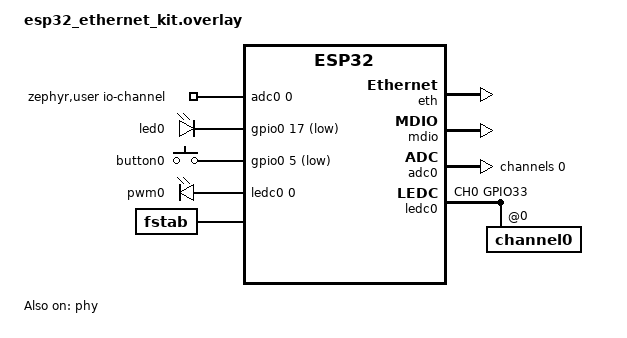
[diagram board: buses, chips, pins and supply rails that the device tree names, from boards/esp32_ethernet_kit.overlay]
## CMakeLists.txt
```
# SPDX-License-Identifier: Apache-2.0

cmake_minimum_required(VERSION 4.5)

# Standard Zephyr package initialization
find_package(Zephyr REQUIRED HINTS $ENV{ZEPHYR_BASE})
project(forte_zephyr_app LANGUAGES C CXX)

target_sources(app PRIVATE src/main.cpp)

include(ExternalProject)

set(FORTE_SOURCE_DIR "${CMAKE_CURRENT_SOURCE_DIR}/lib/org.eclipse.4diac.forte")
set(FORTE_BINARY_DIR "${CMAKE_CURRENT_BINARY_DIR}/forte-build")
set(FORTE_MAIN_LIB "${FORTE_BINARY_DIR}/libforte.a")
set(FORTE_LD_FILE "${CMAKE_CURRENT_BINARY_DIR}/forte_libs.ld")
set(FORTE_COLLECT_SCRIPT "${CMAKE_CURRENT_BINARY_DIR}/collect_forte_libs.cmake")

# Auto-detect ccache if available on PATH
find_program(CCACHE_PROGRAM ccache)
set(FORTE_CCACHE_CACHE_ENTRIES "")
if(CCACHE_PROGRAM)
    message(STATUS "Auto-detected ccache for forte_external: ${CCACHE_PROGRAM}")
    set(FORTE_CCACHE_CACHE_ENTRIES "
set(CMAKE_C_COMPILER_LAUNCHER [==[${CCACHE_PROGRAM}]==] CACHE FILEPATH \"\" FORCE)
set(CMAKE_CXX_COMPILER_LAUNCHER [==[${CCACHE_PROGRAM}]==] CACHE FILEPATH \"\" FORCE)
")
endif()

# 1. Extract Zephyr's flags (this strips single-arg $<TARGET_PROPERTY:prop> expressions)
zephyr_get_include_directories_for_lang_as_string(C ZEPHYR_C_INCLUDES)
zephyr_get_include_directories_for_lang_as_string(CXX ZEPHYR_CXX_INCLUDES)

zephyr_get_compile_definitions_for_lang_as_string(C ZEPHYR_C_DEFINES)
zephyr_get_compile_definitions_for_lang_as_string(CXX ZEPHYR_CXX_DEFINES)

zephyr_get_compile_options_for_lang_as_string(C ZEPHYR_C_OPTIONS)
zephyr_get_compile_options_for_lang_as_string(CXX ZEPHYR_CXX_OPTIONS)

set(RAW_C_FLAGS "${CMAKE_C_FLAGS} ${ZEPHYR_C_OPTIONS} ${ZEPHYR_C_DEFINES} ${ZEPHYR_C_INCLUDES}")
set(RAW_CXX_FLAGS "${CMAKE_CXX_FLAGS} ${ZEPHYR_CXX_OPTIONS} ${ZEPHYR_CXX_DEFINES} ${ZEPHYR_CXX_INCLUDES}")

# 2. Use file(GENERATE) to evaluate the remaining $<JOIN:...> and $<TARGET_PROPERTY:compiler,...> expressions
set(FORTE_CACHE_FILE "${CMAKE_CURRENT_BINARY_DIR}/forte_initial_cache.cmake")

file(GENERATE OUTPUT "${FORTE_CACHE_FILE}" CONTENT "
set(CMAKE_SYSTEM_NAME Generic CACHE STRING \"\" FORCE)
set(CMAKE_TRY_COMPILE_TARGET_TYPE STATIC_LIBRARY CACHE STRING \"\" FORCE)
set(CMAKE_C_COMPILER [==[${CMAKE_C_COMPILER}]==] CACHE FILEPATH \"\" FORCE)
set(CMAKE_CXX_COMPILER [==[${CMAKE_CXX_COMPILER}]==] CACHE FILEPATH \"\" FORCE)
${FORTE_CCACHE_CACHE_ENTRIES}
set(CMAKE_AR [==[${CMAKE_AR}]==] CACHE FILEPATH \"\" FORCE)
set(CMAKE_RANLIB [==[${CMAKE_RANLIB}]==] CACHE FILEPATH \"\" FORCE)
set(CMAKE_C_FLAGS [==[${RAW_C_FLAGS}]==] CACHE STRING \"\" FORCE)
set(CMAKE_CXX_FLAGS [==[${RAW_CXX_FLAGS}]==] CACHE STRING \"\" FORCE)

# Required by 4diac FORTE for static library linking
set(CMAKE_LINK_LIBRARY_USING_WHOLE_ARCHIVE \"LINKER:--whole-archive\" \"<LINK_ITEM>\" \"LINKER:--no-whole-archive\" CACHE STRING \"\" FORCE)
set(CMAKE_LINK_LIBRARY_USING_WHOLE_ARCHIVE_SUPPORTED TRUE CACHE BOOL \"\" FORCE)
set(CMAKE_LINK_LIBRARY_WHOLE_ARCHIVE_ATTRIBUTES LIBRARY_TYPE=STATIC DEDUPLICATION=YES OVERRIDE=DEFAULT CACHE STRING \"\" FORCE)
")

# 3. Generate a build-time helper script that globs all compiled *.a files
#    and writes a GNU linker script fragment (forte_libs.ld)
file(WRITE "${FORTE_COLLECT_SCRIPT}" "
file(GLOB_RECURSE ALL_FORTE_ARCHIVES \"${FORTE_BINARY_DIR}/*.a\")
list(FILTER ALL_FORTE_ARCHIVES EXCLUDE REGEX \"CMakeFiles/\")
set(LD_CONTENT \"INPUT(\\n\")
foreach(archive IN LISTS ALL_FORTE_ARCHIVES)
    string(APPEND LD_CONTENT \"  \\\"\${archive}\\\"\\n\")
endforeach()
string(APPEND LD_CONTENT \")\\n\")
file(WRITE \"${FORTE_LD_FILE}\" \"\${LD_CONTENT}\")
")

# Select board-specific FORTE hardware I/O module
set(FORTE_BOARD_MODULE_ARGS "")
if("${BOARD}" STREQUAL "esp32_ethernet_kit")
    list(APPEND FORTE_BOARD_MODULE_ARGS -DFORTE_MODULE_ESP32ETHERNETKIT=ON)
elseif("${BOARD}" STREQUAL "esp32c3_devkitm")
    list(APPEND FORTE_BOARD_MODULE_ARGS -DFORTE_MODULE_ESP32C3DEVKITM=ON)
elseif("${BOARD}" STREQUAL "teensy41")
    list(APPEND FORTE_BOARD_MODULE_ARGS -DFORTE_MODULE_TEENSY41=ON)
endif()

# 4. Build FORTE and collect all generated .a archives right after compilation
ExternalProject_Add(forte_external
    DEPENDS zephyr_generated_headers
    SOURCE_DIR "${FORTE_SOURCE_DIR}"
    BINARY_DIR "${FORTE_BINARY_DIR}"
    CMAKE_ARGS
        -G "Ninja"
        -C "${FORTE_CACHE_FILE}"
        # FORTE Zephyr Architecture & Library Settings
        -DFORTE_ARCHITECTURE=Zephyr
        -DFORTE_BUILD_EXECUTABLE=OFF
        -DFORTE_TESTS=OFF
        -DFORTE_LOGLEVEL=LOGWARNING
        -DFORTE_SUPPORT_BOOT_FILE=ON
        -DFORTE_BOOT_FILE_LOCATION=/lfs1/forte.fboot
        -DFORTE_COM_ETH=ON
        # Function Block Modules
        -DFORTE_MODULE_CONVERT=OFF
        -DFORTE_MODULE_IEC61131=ON
        -DFORTE_MODULE_ZEPHYR=ON
        ${FORTE_BOARD_MODULE_ARGS}
        -DFORTE_IO=ON
    BUILD_COMMAND ${CMAKE_COMMAND} --build <BINARY_DIR>
          COMMAND ${CMAKE_COMMAND} -P "${FORTE_COLLECT_SCRIPT}"
    INSTALL_COMMAND ""
    BUILD_BYPRODUCTS "${FORTE_MAIN_LIB}" "${FORTE_LD_FILE}"
)

# Ensure forte_external finishes building and generating forte_libs.ld before 'app' links
add_dependencies(app forte_external)

# Include FORTE source and generated headers for main.cpp
target_include_directories(app PRIVATE
    "${FORTE_SOURCE_DIR}/core/include"
    "${FORTE_SOURCE_DIR}/core/arch/common/include"
    "${FORTE_SOURCE_DIR}/core/arch/zephyr/include"
    "${FORTE_BINARY_DIR}/core/include"
    "${FORTE_BINARY_DIR}/include"
    "${FORTE_BINARY_DIR}/core/src_gen"
)

# Pass the generated linker script fragment inside an atomic --whole-archive group
target_link_libraries(app PRIVATE
    "-Wl,--whole-archive,${FORTE_LD_FILE},--no-whole-archive"
)

# 5. Pack lfs_root/ into a LittleFS image matching lfs_partition or storage_partition in devicetree
find_program(MKLITTLEFS_EXE mklittlefs)
execute_process(
    COMMAND "${PYTHON_EXECUTABLE}" -c "import littlefs"
    RESULT_VARIABLE PYTHON_LITTLEFS_RESULT
    OUTPUT_QUIET
    ERROR_QUIET
)

set(LFS_ROOT_DIR "${CMAKE_CURRENT_SOURCE_DIR}/lfs_root")
set(LFS_BIN_FILE "${CMAKE_CURRENT_BINARY_DIR}/littlefs.bin")
set(LFS_PACK_SCRIPT "${CMAKE_CURRENT_SOURCE_DIR}/scripts/pack_littlefs.py")
set(LFS_PACKER_AVAILABLE FALSE)
if(MKLITTLEFS_EXE OR PYTHON_LITTLEFS_RESULT EQUAL 0)
    set(LFS_PACKER_AVAILABLE TRUE)
endif()

dt_nodelabel(STORAGE_PART_NODE NODELABEL "lfs_partition")
if(NOT STORAGE_PART_NODE)
    dt_nodelabel(STORAGE_PART_NODE NODELABEL "storage_partition")
endif()
if(STORAGE_PART_NODE)
    dt_reg_addr(STORAGE_PART_ADDR PATH "${STORAGE_PART_NODE}")
    dt_reg_size(STORAGE_PART_SIZE PATH "${STORAGE_PART_NODE}")
endif()

if(LFS_PACKER_AVAILABLE AND EXISTS "${LFS_ROOT_DIR}" AND STORAGE_PART_SIZE)
    file(GLOB_RECURSE LFS_ROOT_FILES CONFIGURE_DEPENDS "${LFS_ROOT_DIR}/*")
    if(MKLITTLEFS_EXE)
        add_custom_command(
            OUTPUT "${LFS_BIN_FILE}"
            COMMAND "${MKLITTLEFS_EXE}" -c "${LFS_ROOT_DIR}" -b 4096 -p 16 -s ${STORAGE_PART_SIZE} "${LFS_BIN_FILE}"
            DEPENDS ${LFS_ROOT_FILES}
            COMMENT "Packing ${LFS_ROOT_DIR} into LittleFS image (${LFS_BIN_FILE}) via mklittlefs for offset ${STORAGE_PART_ADDR}"
        )
    else()
        add_custom_command(
            OUTPUT "${LFS_BIN_FILE}"
            COMMAND "${PYTHON_EXECUTABLE}" "${LFS_PACK_SCRIPT}" "${LFS_ROOT_DIR}" "${LFS_BIN_FILE}" "${STORAGE_PART_SIZE}"
            DEPENDS ${LFS_ROOT_FILES} "${LFS_PACK_SCRIPT}"
            COMMENT "Packing ${LFS_ROOT_DIR} into LittleFS image (${LFS_BIN_FILE}) via littlefs-python for offset ${STORAGE_PART_ADDR}"
        )
    endif()
    add_custom_target(littlefs_image ALL DEPENDS "${LFS_BIN_FILE}")
elseif(EXISTS "${LFS_ROOT_DIR}" AND NOT LFS_PACKER_AVAILABLE)
    message(WARNING "Neither mklittlefs nor Python littlefs module found; skipping ${LFS_BIN_FILE} generation")
endif()
```

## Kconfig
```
mainmenu "4diac FORTE example"

source "Kconfig.zephyr"
```

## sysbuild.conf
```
# Enable Zephyr application to be booted by MCUboot
SB_CONFIG_BOOTLOADER_MCUBOOT=y
SB_CONFIG_MCUBOOT_MODE_SINGLE_APP=y
```

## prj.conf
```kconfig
# C++ & Full Standard Library Support
CONFIG_CPP=y
CONFIG_STD_CPP20=y
CONFIG_REQUIRES_FULL_LIBCPP=y
CONFIG_GLIBCXX_LIBCPP=y
CONFIG_CPP_EXCEPTIONS=n
CONFIG_CPP_RTTI=n

# POSIX Compatibility Layer (used by FORTE threading, mutexes, and sockets)
CONFIG_POSIX_API=y
CONFIG_POSIX_C_LIB_EXT=y
CONFIG_EVENTFD=y

# Dynamic thread creation for 4diac FORTE
CONFIG_DYNAMIC_THREAD=y
CONFIG_DYNAMIC_THREAD_ALLOC=y

CONFIG_INIT_STACKS=y
CONFIG_THREAD_STACK_INFO=y
CONFIG_KERNEL_MEM_POOL=y

# Core IPv4 Networking (Required for 4diac IDE deployment and monitoring over TCP port 61499)
CONFIG_NETWORKING=y
CONFIG_NET_IPV6=n
CONFIG_NET_IPV4=y
CONFIG_NET_TCP=y
CONFIG_NET_UDP=y
CONFIG_NET_ARP=y
CONFIG_NET_SOCKETS=y

CONFIG_NET_MAX_CONN=20
CONFIG_NET_CONTEXT_RCVTIMEO=y
CONFIG_ZVFS_OPEN_MAX=24
CONFIG_ZVFS_POLL_MAX=24
CONFIG_NET_MAX_CONTEXTS=16

CONFIG_NET_IF_MCAST_IPV4_ADDR_COUNT=4

CONFIG_NET_DHCPV4=y
CONFIG_NET_DHCPV4_OPTION_CALLBACKS=y
CONFIG_DNS_RESOLVER=y
CONFIG_DNS_RESOLVER_MAX_SERVERS=4

CONFIG_TEST_RANDOM_GENERATOR=y

CONFIG_NET_CONNECTION_MANAGER=y

CONFIG_NET_MGMT=y
CONFIG_NET_MGMT_EVENT=y
CONFIG_NET_MGMT_EVENT_STACK_SIZE=2048

# Console, Logging & Interactive Shell
CONFIG_SERIAL=y
CONFIG_CONSOLE=y
CONFIG_UART_CONSOLE=y
CONFIG_PRINTK=y
CONFIG_BOOT_BANNER=y

CONFIG_LOG=y
CONFIG_LOG_MODE_IMMEDIATE=y
CONFIG_LOG_BACKEND_UART=y
CONFIG_NET_LOG=y

CONFIG_SHELL=y
CONFIG_SHELL_BACKEND_SERIAL=y
CONFIG_NET_SHELL=n

# LittleFS support
CONFIG_FLASH=y
CONFIG_FLASH_MAP=y
CONFIG_FLASH_PAGE_LAYOUT=y

CONFIG_FILE_SYSTEM=y
CONFIG_FILE_SYSTEM_LITTLEFS=y
CONFIG_FILE_SYSTEM_SHELL=n

# IO & Watchdog drivers support (CONFIG_ADC_ASYNC is configured per board in boards/*.conf)
CONFIG_GPIO=y
CONFIG_ADC=y
CONFIG_PWM=y
CONFIG_WATCHDOG=y
CONFIG_WDT_DISABLE_AT_BOOT=y
```

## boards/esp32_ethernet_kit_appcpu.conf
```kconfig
CONFIG_ETH_ESP32=y
CONFIG_ESP_SPIRAM=n
```

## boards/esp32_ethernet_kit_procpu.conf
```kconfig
# Bootloader & CPU Architecture
CONFIG_BOOTLOADER_MCUBOOT=y
CONFIG_MCUBOOT_BOOTLOADER_MODE_SINGLE_APP=y
CONFIG_FPU=y
CONFIG_ESP_SPIRAM=n

# Board-Specific Memory & Stack Sizing (ESP32 176 KB static dram0_0_seg, Ethernet-only)
CONFIG_COMMON_LIBC_MALLOC_ARENA_SIZE=45056
CONFIG_HEAP_MEM_POOL_SIZE=16384
CONFIG_MAIN_STACK_SIZE=2048
CONFIG_SYSTEM_WORKQUEUE_STACK_SIZE=4096
CONFIG_SHELL_STACK_SIZE=2048
CONFIG_NET_RX_STACK_SIZE=3072
CONFIG_NET_TX_STACK_SIZE=2048

# Board-Specific I/O Capabilities (Espressif ADC supports synchronous read only)
CONFIG_ADC_ASYNC=n

# Wired Ethernet Driver & L2
CONFIG_ETH_ESP32=y
CONFIG_NET_L2_ETHERNET=y
CONFIG_NET_PROMISCUOUS_MODE=y
CONFIG_SLIP_STATISTICS=n
```

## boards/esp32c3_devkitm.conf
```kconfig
# Bootloader (ESP32-C3 RISC-V, no FPU)
CONFIG_BOOTLOADER_MCUBOOT=y
CONFIG_MCUBOOT_BOOTLOADER_MODE_SINGLE_APP=y

# Board-Specific Memory & Stack Sizing (ESP32-C3 400 KB SRAM + Native ESP32 Wi-Fi Supplicant)
CONFIG_COMMON_LIBC_MALLOC_ARENA_SIZE=81920
CONFIG_HEAP_MEM_POOL_SIZE=77824
CONFIG_MAIN_STACK_SIZE=2048
CONFIG_SYSTEM_WORKQUEUE_STACK_SIZE=4096
CONFIG_SHELL_STACK_SIZE=4096
CONFIG_NET_RX_STACK_SIZE=3072
CONFIG_NET_TX_STACK_SIZE=2048

# Board-Specific I/O Capabilities (Espressif ADC supports synchronous read only)
CONFIG_ADC_ASYNC=n

# Wi-Fi + Shell + Persistent NVS Credential Storage (uses Espressif native supplicant)
CONFIG_WIFI=y
CONFIG_WIFI_ESP32=y
CONFIG_NET_L2_WIFI_MGMT=y
CONFIG_NET_L2_WIFI_SHELL=y
CONFIG_WIFI_NM_WPA_SUPPLICANT=n

CONFIG_WIFI_CREDENTIALS=y
CONFIG_WIFI_CREDENTIALS_SHELL=y
CONFIG_WIFI_CREDENTIALS_BACKEND_SETTINGS=y

CONFIG_NVS=y
CONFIG_SETTINGS=y
CONFIG_SETTINGS_NVS=y
CONFIG_SETTINGS_RUNTIME=y

# WS2812 onboard RGB LED on GPIO 8 (optional; standard GPIO LEDs work out of the box)
CONFIG_LED_STRIP=n
```

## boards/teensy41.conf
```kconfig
# CPU & FPU Architecture (NXP i.MX RT1062 Cortex-M7 @ 600 MHz, HalfKay ROM bootloader)
CONFIG_BOOTLOADER_MCUBOOT=n
CONFIG_FPU=y

# Board-Specific Memory & Stack Sizing (Teensy 4.1 has 1 MB SRAM)
CONFIG_COMMON_LIBC_MALLOC_ARENA_SIZE=131072
CONFIG_HEAP_MEM_POOL_SIZE=32768
CONFIG_MAIN_STACK_SIZE=2048
CONFIG_SYSTEM_WORKQUEUE_STACK_SIZE=4096
CONFIG_SHELL_STACK_SIZE=2048
CONFIG_NET_RX_STACK_SIZE=3072
CONFIG_NET_TX_STACK_SIZE=2048

# Board-Specific I/O Capabilities (NXP mcux_adc12 supports async k_poll reads)
CONFIG_ADC_ASYNC=y

# Wired 10/100 Ethernet Driver & L2 (Teensy 4.1 Ethernet Kit)
CONFIG_ETH_MCUX=y
CONFIG_NET_L2_ETHERNET=y
CONFIG_NET_PROMISCUOUS_MODE=y
```

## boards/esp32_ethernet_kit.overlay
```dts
/*
 * Copyright (c) 2022 Grant Ramsay <grant.ramsay@hotmail.com>
 *
 * SPDX-License-Identifier: Apache-2.0
 */

#include <zephyr/dt-bindings/pwm/pwm.h>
#include <dt-bindings/pinctrl/esp32-pinctrl.h>

&eth {
	status = "okay";
};

&phy {
	status = "okay";
};

&mdio {
	status = "okay";
};

&wifi {
	status = "disabled";
};

&flash0 {
	status = "okay";
	partitions {
		/* Reserve 2024kB for the application in slot 0 */
		slot0_partition: partition@10000 {
			label = "image-0";
			reg = <0x00010000 0x00200000>;
		};

		/delete-node/ slot1_partition;
	};
};

&adc0 {
	status = "okay";
	#address-cells = <1>;
	#size-cells = <0>;

	channel@0 {
		reg = <0>;
		zephyr,gain = "ADC_GAIN_1";
		zephyr,reference = "ADC_REF_INTERNAL";
		zephyr,acquisition-time = <ADC_ACQ_TIME_DEFAULT>;
		zephyr,resolution = <12>;
	};
};

&pinctrl {
	ledc0_default:  ledc0_default {
		group1 {
			pinmux = <LEDC_CH0_GPIO33>;
			output-enable;
		};
	};
};

&ledc0 {
	pinctrl-0 = <&ledc0_default>;
	pinctrl-names = "default";
	status = "okay";
	#address-cells = <1>;
	#size-cells = <0>;
	channel0@0 {
		reg = <0x0>;
		timer = <0>;
	};
};

/ {
	zephyr,user {
		io-channels =
			<&adc0 0>;
	};

   	aliases {
   		led0 = &led0;
   		sw0 = &button0;
		pwm0 = &pwm0;
   	};

   	leds {
   		compatible = "gpio-leds";
   		led0: led_0 {
   			gpios = <&gpio0 17 GPIO_ACTIVE_LOW>;
                };
   	};

	buttons {
		compatible = "gpio-keys";
		button0: button_0 {
			gpios = <&gpio0 5 (GPIO_PULL_UP | GPIO_ACTIVE_LOW)>;
		};
	};

	pwmleds {
		compatible = "pwm-leds";
		pwm0: pwm_led_gpio1_1 {
			pwms = <&ledc0 0 PWM_HZ(100) PWM_POLARITY_NORMAL>;
		};
	};

	fstab {
		compatible = "zephyr,fstab";
		lfs1: lfs1 {
			compatible = "zephyr,fstab,littlefs";
			mount-point = "/lfs1";
			partition = <&storage_partition>;
			automount;
			read-size = <16>;
			prog-size = <16>;
			cache-size = <64>;
			lookahead-size = <32>;
			block-cycles = <512>;
		};
	};
};
```

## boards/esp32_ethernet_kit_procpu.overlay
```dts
/ {
	aliases {
		led0 = &user_led0;
		sw0 = &user_button0;
		pwm0 = &pwm_led0;
		watchdog0 = &wdt0;
	};

	leds {
		compatible = "gpio-leds";
		user_led0: led_0 {
			gpios = <&gpio0 17 GPIO_ACTIVE_HIGH>;
			label = "User LED0 (GPIO17)";
		};
	};

	buttons {
		compatible = "gpio-keys";
		user_button0: button_0 {
			gpios = <&gpio0 5 (GPIO_PULL_UP | GPIO_ACTIVE_LOW)>;
			label = "User Button0 (GPIO5)";
		};
	};

	pwmleds {
		compatible = "pwm-leds";
		pwm_led0: pwm_led_0 {
			pwms = <&ledc0 0 PWM_MSEC(20) PWM_POLARITY_NORMAL>;
			label = "PWM LED0 (GPIO33)";
		};
	};

	zephyr,user {
		io-channels = <&adc0 0>;
	};

	fstab {
		compatible = "zephyr,fstab";
		lfs1: lfs1 {
			compatible = "zephyr,fstab,littlefs";
			mount-point = "/lfs1";
			partition = <&storage_partition>;
			automount;
			read-size = <16>;
			prog-size = <16>;
			cache-size = <64>;
			lookahead-size = <32>;
			block-cycles = <512>;
		};
	};
};

&pinctrl {
	ledc0_default: ledc0_default {
		group1 {
			pinmux = <LEDC_CH0_GPIO33>;
			output-enable;
		};
	};
};

&ledc0 {
	pinctrl-0 = <&ledc0_default>;
	pinctrl-names = "default";
	status = "okay";
	#address-cells = <1>;
	#size-cells = <0>;
	channel0@0 {
		reg = <0x0>;
		timer = <0>;
	};
};

&adc0 {
	status = "okay";
	#address-cells = <1>;
	#size-cells = <0>;
	channel@0 {
		reg = <0>;
		zephyr,gain = "ADC_GAIN_1_4";
		zephyr,reference = "ADC_REF_INTERNAL";
		zephyr,acquisition-time = <ADC_ACQ_TIME_DEFAULT>;
		zephyr,resolution = <12>;
	};
};

&wdt0 {
	status = "okay";
};

&eth {
	status = "okay";
};

&phy {
	status = "okay";
};

&mdio {
	status = "okay";
};

&wifi {
	status = "disabled";
};

&flash0 {
	partitions {
		compatible = "fixed-partitions";
		#address-cells = <1>;
		#size-cells = <1>;

		/delete-node/ partition@170000;
		/delete-node/ partition@3b0000;

		slot0_partition: partition@20000 {
			label = "image-0";
			reg = <0x00020000 0x00380000>;
		};

		storage_partition: partition@3b0000 {
			label = "storage";
			reg = <0x003b0000 0x00050000>;
		};
	};
};
```

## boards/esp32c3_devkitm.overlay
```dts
#include <zephyr/dt-bindings/pwm/pwm.h>
#include <zephyr/dt-bindings/pinctrl/esp32c3-pinctrl.h>

/ {
	aliases {
		led0 = &user_led0;
		pwm0 = &pwm_led0;
		watchdog0 = &wdt0;
	};

	leds {
		compatible = "gpio-leds";
		user_led0: led_0 {
			gpios = <&gpio0 4 GPIO_ACTIVE_HIGH>;
			label = "User LED0 (GPIO4)";
		};
	};

	pwmleds {
		compatible = "pwm-leds";
		pwm_led0: pwm_led_0 {
			pwms = <&ledc0 0 PWM_MSEC(20) PWM_POLARITY_NORMAL>;
			label = "PWM LED0 (GPIO5)";
		};
	};

	zephyr,user {
		io-channels = <&adc0 0>;
	};

	fstab {
		compatible = "zephyr,fstab";
		lfs1: lfs1 {
			compatible = "zephyr,fstab,littlefs";
			mount-point = "/lfs1";
			partition = <&lfs_partition>;
			automount;
			read-size = <16>;
			prog-size = <16>;
			cache-size = <64>;
			lookahead-size = <32>;
			block-cycles = <512>;
		};
	};
};

&pinctrl {
	ledc0_default: ledc0_default {
		group1 {
			pinmux = <LEDC_CH0_GPIO5>;
			output-enable;
		};
	};
};

&ledc0 {
	pinctrl-0 = <&ledc0_default>;
	pinctrl-names = "default";
	status = "okay";
	#address-cells = <1>;
	#size-cells = <0>;
	channel0@0 {
		reg = <0x0>;
		timer = <0>;
	};
};

&adc0 {
	status = "okay";
	#address-cells = <1>;
	#size-cells = <0>;
	channel@0 {
		reg = <0>;
		zephyr,gain = "ADC_GAIN_1_4";
		zephyr,reference = "ADC_REF_INTERNAL";
		zephyr,acquisition-time = <ADC_ACQ_TIME_DEFAULT>;
		zephyr,resolution = <12>;
	};
};

&wdt0 {
	status = "okay";
};

&wifi {
	status = "okay";
};

&flash0 {
	partitions {
		compatible = "fixed-partitions";
		#address-cells = <1>;
		#size-cells = <1>;

		/delete-node/ partition@170000;
		/delete-node/ partition@3b0000;

		slot0_partition: partition@20000 {
			label = "image-0";
			reg = <0x00020000 0x00380000>;
		};

		storage_partition: partition@3a0000 {
			label = "storage";
			reg = <0x003a0000 0x00010000>;
		};

		lfs_partition: partition@3b0000 {
			label = "lfs_storage";
			reg = <0x003b0000 0x00050000>;
		};
	};
};
```

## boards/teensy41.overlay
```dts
#include <zephyr/dt-bindings/pwm/pwm.h>

/ {
	aliases {
		/* led0 is already aliased to green_led (Teensy Pin 13) in teensy4x.dtsi */
		sw0 = &user_button0;
		pwm0 = &flexpwm2_pwm0;
		watchdog0 = &wdog1;
	};

	buttons {
		compatible = "gpio-keys";
		user_button0: button_0 {
			gpios = <&gpio4 4 (GPIO_PULL_UP | GPIO_ACTIVE_LOW)>;
			label = "User Button0 (Teensy Pin 2)";
		};
	};

	zephyr,user {
		io-channels = <&adc1 0>;
	};

	fstab {
		compatible = "zephyr,fstab";
		lfs1: lfs1 {
			compatible = "zephyr,fstab,littlefs";
			mount-point = "/lfs1";
			partition = <&lfs_partition>;
			automount;
			read-size = <16>;
			prog-size = <16>;
			cache-size = <64>;
			lookahead-size = <32>;
			block-cycles = <512>;
		};
	};
};

&adc1 {
	status = "okay";
	#address-cells = <1>;
	#size-cells = <0>;
	channel@0 {
		reg = <0>;
		zephyr,gain = "ADC_GAIN_1";
		zephyr,reference = "ADC_REF_INTERNAL";
		zephyr,acquisition-time = <ADC_ACQ_TIME_DEFAULT>;
		zephyr,resolution = <12>;
	};
};

&flexpwm2_pwm0 {
	status = "okay";
};

&wdog1 {
	status = "okay";
};

&enet {
	status = "okay";
};

&w25q64jvssiq {
	partitions {
		compatible = "fixed-partitions";
		#address-cells = <1>;
		#size-cells = <1>;

		/* Reserve top 512 KB of 8 MB QSPI flash (0x780000..0x800000) for LittleFS */
		lfs_partition: partition@780000 {
			label = "lfs_storage";
			reg = <0x00780000 0x00080000>;
		};
	};
};
```

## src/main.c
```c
#include <zephyr/logging/log.h>
LOG_MODULE_REGISTER(forte, LOG_LEVEL_DBG);

#include <zephyr/kernel.h>
#include <zephyr/linker/sections.h>

#include <zephyr/net/net_if.h>
#include <zephyr/net/net_core.h>
#include <zephyr/net/net_context.h>
#include <zephyr/net/net_mgmt.h>
#include <zephyr/fs/fs.h>

#include <stdlib.h>

// #include <c_interface/forte_c.h>

#ifndef K_FP_REGS
#define K_FP_REGS 0
#endif // K_FP_REGS


#define DHCP_OPTION_NTP (42)

static uint8_t ntp_server[4];

static struct net_mgmt_event_callback mgmt_cb;

static struct net_dhcpv4_option_callback dhcp_cb;

static void start_dhcpv4_client(struct net_if *iface, void *user_data)
{
	ARG_UNUSED(user_data);

	LOG_INF("Start on %s: index=%d", net_if_get_device(iface)->name,
		net_if_get_by_iface(iface));
	net_dhcpv4_start(iface);
}

#ifdef CONFIG_UPDATE_FORTE_BOOTFILE

#include <forte_fileio.h>

char* bootCmds =
";<Request ID=\"2\" Action=\"CREATE\"><FB Name=\"Blinky_RES\" Type=\"EMB_RES\" /></Request>\n"
"Blinky_RES;<Request ID=\"3\" Action=\"CREATE\"><FB Name=\"E_SWITCH\" Type=\"E_SWITCH\" /></Request>\n"
"Blinky_RES;<Request ID=\"4\" Action=\"CREATE\"><FB Name=\"E_SR\" Type=\"E_SR\" /></Request>\n"
"Blinky_RES;<Request ID=\"5\" Action=\"CREATE\"><FB Name=\"E_CYCLE\" Type=\"E_CYCLE\" /></Request>\n"
"Blinky_RES;<Request ID=\"6\" Action=\"WRITE\"><Connection Source=\"T#10ms\" Destination=\"E_CYCLE.DT\" /></Request>\n"
"Blinky_RES;<Request ID=\"7\" Action=\"CREATE\"><Connection Source=\"E_SWITCH.EO0\" Destination=\"E_SR.S\" /></Request>\n"
"Blinky_RES;<Request ID=\"8\" Action=\"CREATE\"><Connection Source=\"E_SWITCH.EO1\" Destination=\"E_SR.R\" /></Request>\n"
"Blinky_RES;<Request ID=\"9\" Action=\"CREATE\"><Connection Source=\"E_CYCLE.EO\" Destination=\"E_SWITCH.EI\" /></Request>\n"
"Blinky_RES;<Request ID=\"10\" Action=\"CREATE\"><Connection Source=\"START.COLD\" Destination=\"E_CYCLE.START\" /></Request>\n"
"Blinky_RES;<Request ID=\"11\" Action=\"CREATE\"><Connection Source=\"START.WARM\" Destination=\"E_CYCLE.START\" /></Request>\n"
"Blinky_RES;<Request ID=\"12\" Action=\"CREATE\"><Connection Source=\"START.STOP\" Destination=\"E_CYCLE.STOP\" /></Request>\n"
"Blinky_RES;<Request ID=\"13\" Action=\"CREATE\"><Connection Source=\"E_SR.Q\" Destination=\"E_SWITCH.G\" /></Request>\n"
"Blinky_RES;<Request ID=\"13\" Action=\"START\"/>\n"
;
#endif // CONFIG_UPDATE_FORTE_BOOTFILE

void forte_fn(void* arg1, void* arg2, void* arg3) {
//	char progName[] = "forte";
//	char flag[] = "-f";
//	char bootFile[] = "/lfs1/bootfile.txt";

#ifdef CONFIG_UPDATE_FORTE_BOOTFILE
	struct fs_file_t file = { 0 };
	fs_file_t_init(&file);
	if (0 == fs_open(&file, bootFile, FS_O_WRITE | FS_O_CREATE)) {
		fs_write(&file, bootCmds, strlen(bootCmds));
		fs_close(&file);
	}
#endif // CONFIG_UPDATE_FORTE_BOOTFILE

//	char* arguments[] = { progName, flag, bootFile };
//	const ssize_t argumentsCount = ARRAY_SIZE(arguments);
//	TForteInstance forteInstance = 0;
//	forteGlobalInitialize(argumentsCount, arguments);
//	int resultForte = forteStartInstanceGeneric(argumentsCount, arguments, &forteInstance);
//
//	if(FORTE_OK == resultForte) {
//		LOG_DBG("Started forte");
//		forteWaitForInstanceToStop(forteInstance);
//	} else {
//		LOG_DBG("Error %d: Couldn't start forte", resultForte);
//	}
//	forteGlobalDeinitialize();
}

static void handler(struct net_mgmt_event_callback *cb,
	uint64_t mgmt_event,
	struct net_if *iface)
{
	int i = 0;

	if (mgmt_event != NET_EVENT_IPV4_ADDR_ADD) {
		return;
	}

	for (i = 0; i < NET_IF_MAX_IPV4_ADDR; i++) {
		char buf[NET_IPV4_ADDR_LEN];

		if (iface->config.ip.ipv4->unicast[i].ipv4.addr_type !=
			NET_ADDR_DHCP) {
			continue;
		}

		LOG_INF("  Address[%d]: %s", net_if_get_by_iface(iface),
			net_addr_ntop(AF_INET,
			&iface->config.ip.ipv4->unicast[i].ipv4.address.in_addr,
			buf, sizeof(buf)));
		LOG_INF("  Subnet[%d]: %s", net_if_get_by_iface(iface),
			net_addr_ntop(AF_INET,
			&iface->config.ip.ipv4->unicast[i].netmask,
			buf, sizeof(buf)));
		LOG_INF("  Router[%d]: %s", net_if_get_by_iface(iface),
			net_addr_ntop(AF_INET,
			&iface->config.ip.ipv4->gw,
			buf, sizeof(buf)));
		LOG_INF("Lease time[%d]: %u seconds", net_if_get_by_iface(iface),
			iface->config.dhcpv4.lease_time);
	}

	const size_t stackSize = 2048;
	k_thread_stack_t* stack = k_thread_stack_alloc(stackSize, 0);
	if (stack == NULL) return;
	struct k_thread* thread = k_malloc(sizeof(struct k_thread));
	if (thread == NULL) return;
	k_thread_create(thread, stack, stackSize, forte_fn, NULL, NULL, NULL, 10, K_FP_REGS, K_NO_WAIT);
}

static void option_handler(struct net_dhcpv4_option_callback *cb,
			size_t length,
			enum net_dhcpv4_msg_type msg_type,
			struct net_if *iface)
{
	char buf[NET_IPV4_ADDR_LEN];

	LOG_INF("DHCP Option %d: %s", cb->option,
		net_addr_ntop(AF_INET, cb->data, buf, sizeof(buf)));
}

int main(void)
{
	LOG_INF("Run dhcpv4 client");

	net_mgmt_init_event_callback(&mgmt_cb, handler,
		NET_EVENT_IPV4_ADDR_ADD);
	net_mgmt_add_event_callback(&mgmt_cb);

	net_dhcpv4_init_option_callback(&dhcp_cb, option_handler,
		DHCP_OPTION_NTP, ntp_server,
		sizeof(ntp_server));

	net_dhcpv4_add_option_callback(&dhcp_cb);

	net_if_foreach(start_dhcpv4_client, NULL);

	return 0;
}
```

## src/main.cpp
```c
#include <zephyr/kernel.h>
#include <zephyr/linker/sections.h>

#include <zephyr/net/net_if.h>
#include <zephyr/net/dhcpv4.h>
#include <zephyr/net/net_core.h>
#include <zephyr/net/net_context.h>
#include <zephyr/net/net_mgmt.h>
#if defined(CONFIG_WIFI_CREDENTIALS)
#include <zephyr/net/wifi_mgmt.h>
#endif
#include <zephyr/fs/fs.h>
#include <zephyr/logging/log.h>

#include <stdlib.h>

#include "forte/forteinstance.h"
#include "forte/arch/forte_architecture.h"

LOG_MODULE_REGISTER(forte, LOG_LEVEL_DBG);

#ifndef K_FP_REGS
#define K_FP_REGS 0
#endif // K_FP_REGS

#define DHCP_OPTION_NTP (42)

static uint8_t ntp_server[4U];
static struct net_mgmt_event_callback mgmt_cb;
static struct net_dhcpv4_option_callback dhcp_cb;

static forte::C4diacFORTEInstance g4diacForteInstance;

static void start_dhcpv4_client(struct net_if *iface, void *user_data)
{
	ARG_UNUSED(user_data);

	LOG_INF("Start on %s: index=%d", net_if_get_device(iface)->name,
		net_if_get_by_iface(iface));
	net_dhcpv4_start(iface);
}

void forte_fn(void *arg1, void *arg2, void *arg3)
{
	ARG_UNUSED(arg1);
	ARG_UNUSED(arg2);
	ARG_UNUSED(arg3);

	LOG_INF("Starting Eclipse 4diac FORTE Runtime...");

	char progName[] = "forte";
	char *argv[] = { progName };
	if (auto result = forte::arch::CForteArchitecture::initialize(ARRAY_SIZE(argv), argv); result != 0) {
		LOG_ERR("Failed to initialize FORTE architecture: %d", result);
		return;
	}

	// Start FORTE immediately (loads /lfs1/forte.fboot if present and binds 0.0.0.0:61499)
	if (!g4diacForteInstance.startupNewDevice("0.0.0.0:61499")) {
		LOG_ERR("Failed to start FORTE instance");
		forte::arch::CForteArchitecture::deinitialize();
		return;
	}

	LOG_INF("FORTE is running on port 61499. Ready for 4diac IDE connection.");
	g4diacForteInstance.awaitDeviceShutdown();

	forte::arch::CForteArchitecture::deinitialize();
}

static void start_forte_thread(void)
{
	const size_t stackSize = 4096;
	k_thread_stack_t *stack = k_thread_stack_alloc(stackSize, 0);
	if (stack == nullptr) {
		LOG_ERR("Failed to allocate FORTE thread stack (%zu bytes)", stackSize);
		return;
	}
	auto *thread = static_cast<struct k_thread *>(k_malloc(sizeof(struct k_thread)));
	if (thread == nullptr) {
		LOG_ERR("Failed to allocate FORTE k_thread struct");
		k_thread_stack_free(stack);
		return;
	}
	k_thread_create(thread, stack, stackSize, forte_fn, nullptr, nullptr, nullptr, 10, K_FP_REGS, K_NO_WAIT);
}

static void handler(struct net_mgmt_event_callback *cb,
	uint64_t mgmt_event,
	struct net_if *iface)
{
	ARG_UNUSED(cb);
	int i = 0;

	if (mgmt_event != NET_EVENT_IPV4_ADDR_ADD) {
		return;
	}

	for (i = 0; i < NET_IF_MAX_IPV4_ADDR; i++) {
		char buf[NET_IPV4_ADDR_LEN];

		if (iface->config.ip.ipv4->unicast[i].ipv4.addr_type !=
			NET_ADDR_DHCP) {
			continue;
		}

		LOG_INF("  Address[%d]: %s", net_if_get_by_iface(iface),
			net_addr_ntop(AF_INET,
			&iface->config.ip.ipv4->unicast[i].ipv4.address.in_addr,
			buf, sizeof(buf)));
		LOG_INF("  Subnet[%d]: %s", net_if_get_by_iface(iface),
			net_addr_ntop(AF_INET,
			&iface->config.ip.ipv4->unicast[i].netmask,
			buf, sizeof(buf)));
		LOG_INF("  Router[%d]: %s", net_if_get_by_iface(iface),
			net_addr_ntop(AF_INET,
			&iface->config.ip.ipv4->gw,
			buf, sizeof(buf)));
		LOG_INF("Lease time[%d]: %u seconds", net_if_get_by_iface(iface),
			iface->config.dhcpv4.lease_time);
	}
}

static void option_handler(struct net_dhcpv4_option_callback *cb,
			size_t length,
			enum net_dhcpv4_msg_type msg_type,
			struct net_if *iface)
{
	ARG_UNUSED(length);
	ARG_UNUSED(msg_type);
	ARG_UNUSED(iface);
	char buf[NET_IPV4_ADDR_LEN];

	LOG_INF("DHCP Option %d: %s", cb->option,
		net_addr_ntop(AF_INET, cb->data, buf, sizeof(buf)));
}

extern "C" int main(void)
{
	start_forte_thread();

	LOG_INF("Run dhcpv4 client");

	net_mgmt_init_event_callback(&mgmt_cb, handler,
		NET_EVENT_IPV4_ADDR_ADD);
	net_mgmt_add_event_callback(&mgmt_cb);

	net_dhcpv4_init_option_callback(&dhcp_cb, option_handler,
		DHCP_OPTION_NTP, ntp_server,
		sizeof(ntp_server));

	net_dhcpv4_add_option_callback(&dhcp_cb);

	net_if_foreach(start_dhcpv4_client, nullptr);

#if defined(CONFIG_WIFI_CREDENTIALS)
	struct net_if *wifi_iface = net_if_get_first_wifi();
	if (wifi_iface != nullptr) {
		int err = net_mgmt(NET_REQUEST_WIFI_CONNECT_STORED, wifi_iface, nullptr, 0);
		if (err && err != -ENOENT) {
			LOG_WRN("Stored Wi-Fi auto-connect request returned %d", err);
		}
	}
#endif

	return 0;
}
```
